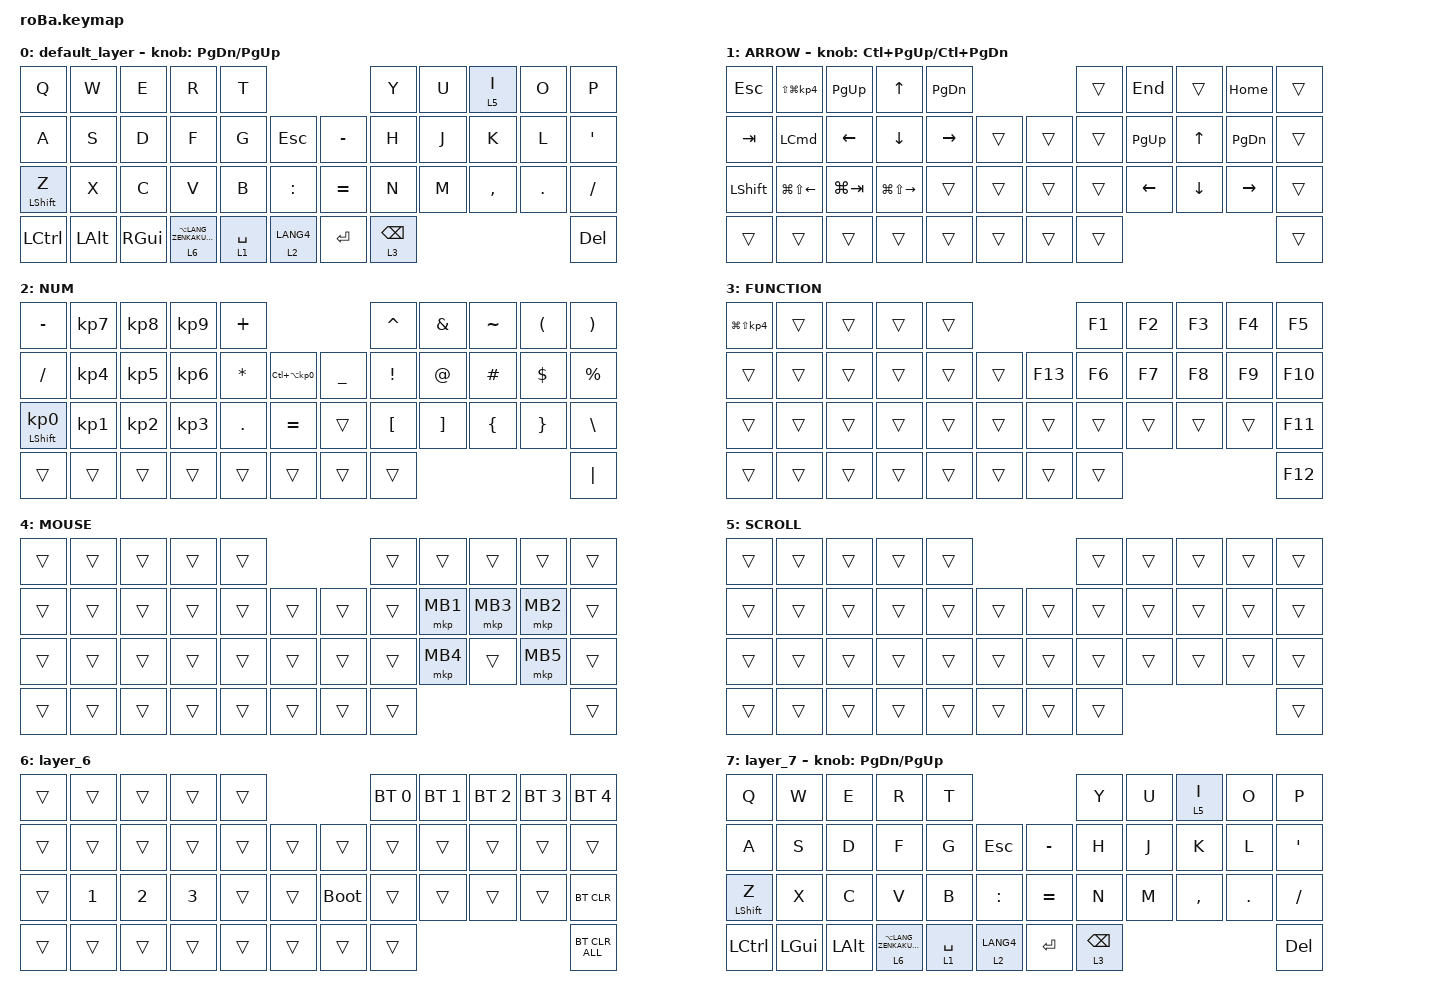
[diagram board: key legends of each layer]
#include <behaviors.dtsi>
#include <dt-bindings/zmk/bt.h>
#include <dt-bindings/zmk/keys.h>
#include <dt-bindings/zmk/pointing.h>

&mt {
    flavor = "balanced";
    quick-tap-ms = <0>;
};

&trackball {
    automouse-layer = <4>;
    scroll-layers = <5>;

    // arrows {
    //     layers = <3>;
    //     bindings =
    //         <&kp RIGHT_ARROW>,
    //         <&kp LEFT_ARROW>,
    //         <&kp UP_ARROW>,
    //         <&kp DOWN_ARROW>;
    //     tick = <10>;
    //     wait-ms = <5>;
    //     tap-ms = <5>;
    // };
};

/ {
    combos {
        compatible = "zmk,combos";

        tab {
            bindings = <&kp TAB>;
            key-positions = <11 10>;
        };

        shift_tab {
            bindings = <&kp LS(TAB)>;
            key-positions = <12 13>;
        };

        muhennkann {
            bindings = <&to_layer_0 INT_MUHENKAN>;
            key-positions = <11 10>;
        };

        double_quotation {
            bindings = <&kp DOUBLE_QUOTES>;
            key-positions = <20 21>;
        };

        eq {
            bindings = <&kp EQUAL>;
            key-positions = <24 25>;
        };

        escape {
            bindings = <&kp ESCAPE>;
            key-positions = <0 1>;
        };

        bikkuri {
            bindings = <&kp EXCLAMATION>;
            key-positions = <0 10>;
        };

        atmark {
            bindings = <&kp AT_SIGN>;
            key-positions = <1 11>;
        };

        ques {
            bindings = <&kp QUESTION>;
            key-positions = <26 27>;
        };

        ei {
            bindings = <&kp LEFT_GUI>;
            key-positions = <26 38>;
        };

        kana {
            bindings = <&kp RIGHT_GUI>;
            key-positions = <29 41>;
        };
    };

    macros {
        to_layer_0: to_layer_0 {
            compatible = "zmk,behavior-macro-one-param";
            #binding-cells = <1>;
            bindings = <&to 0 &macro_param_1to1 &kp MACRO_PLACEHOLDER>;
            label = "TO_LAYER_0";
        };
    };

    behaviors {
        lt_to_layer_0: lt_to_layer_0 {
            compatible = "zmk,behavior-hold-tap";
            label = "LAYER_TAP_TO_0";
            bindings = <&mo>, <&to_layer_0>;

            #binding-cells = <2>;
            tapping-term-ms = <200>;
        };
    };

    keymap {
        compatible = "zmk,keymap";

        default_layer {
            bindings = <
&kp Q             &kp W         &kp E          &kp R                                     &kp T                                               &kp Y            &kp U  &lt 5 I    &kp O    &kp P
&kp A             &kp S         &kp D          &kp F                                     &kp G        &kp ESCAPE                  &kp MINUS  &kp H            &kp J  &kp K      &kp L    &kp SQT
&mt LEFT_SHIFT Z  &kp X         &kp C          &kp V                                     &kp B        &kp COLON                   &kp EQUAL  &kp N            &kp M  &kp COMMA  &kp DOT  &kp SLASH
&kp LCTRL         &kp LEFT_ALT  &kp RIGHT_GUI  &lt_to_layer_0 6 LA(LANG_ZENKAKUHANKAKU)  &lt 1 SPACE  &lt_to_layer_0 2 LANG4      &kp ENTER  &lt 3 BACKSPACE                             &kp DEL
            >;

            sensor-bindings = <&inc_dec_kp PAGE_DOWN PG_UP>;
        };

        ARROW {
            bindings = <
&kp ESCAPE      &kp LS(LG(KP_NUMBER_4))  &kp PG_UP       &kp UP_ARROW             &kp PAGE_DOWN                      &trans  &kp END         &trans        &kp HOME       &trans
&kp TAB         &kp LEFT_COMMAND         &kp LEFT_ARROW  &kp DOWN_ARROW           &kp RIGHT      &trans      &trans  &trans  &kp PG_UP       &kp UP_ARROW  &kp PAGE_DOWN  &trans
&kp LEFT_SHIFT  &kp LG(LS(LEFT_ARROW))   &kp LG(TAB)     &kp LG(LS(RIGHT_ARROW))  &trans         &trans      &trans  &trans  &kp LEFT_ARROW  &kp DOWN      &kp RIGHT      &trans
&trans          &trans                   &trans          &trans                   &trans         &trans      &trans  &trans                                               &trans
            >;

            sensor-bindings = <&inc_dec_kp LC(PAGE_UP) LC(PAGE_DOWN)>;
        };

        NUM {
            bindings = <
&kp MINUS                   &kp KP_NUMBER_7  &kp KP_NUMBER_8  &kp KP_NUMBER_9  &kp PLUS                                                   &kp CARET         &kp AMPERSAND      &kp TILDE       &kp LEFT_PARENTHESIS  &kp RIGHT_PARENTHESIS
&kp SLASH                   &kp KP_NUMBER_4  &kp KP_NUMBER_5  &kp KP_NUMBER_6  &kp ASTERISK  &kp LC(LA(KP_NUMBER_0))      &kp UNDERSCORE  &kp EXCLAMATION   &kp AT_SIGN        &kp HASH        &kp DOLLAR            &kp PERCENT
&mt LEFT_SHIFT KP_NUMBER_0  &kp KP_NUMBER_1  &kp KP_NUMBER_2  &kp KP_NUMBER_3  &kp PERIOD    &kp EQUAL                    &trans          &kp LEFT_BRACKET  &kp RIGHT_BRACKET  &kp LEFT_BRACE  &kp RIGHT_BRACE       &kp BACKSLASH
&trans                      &trans           &trans           &trans           &trans        &trans                       &trans          &trans                                                                     &kp PIPE
            >;
        };

        FUNCTION {
            bindings = <
&kp LG(LS(KP_NUMBER_4))  &trans  &trans  &trans  &trans                       &kp F1  &kp F2  &kp F3  &kp F4  &kp F5
&trans                   &trans  &trans  &trans  &trans  &trans      &kp F13  &kp F6  &kp F7  &kp F8  &kp F9  &kp F10
&trans                   &trans  &trans  &trans  &trans  &trans      &trans   &trans  &trans  &trans  &trans  &kp F11
&trans                   &trans  &trans  &trans  &trans  &trans      &trans   &trans                          &kp F12
            >;
        };

        MOUSE {
            bindings = <
&trans  &trans  &trans  &trans  &trans                      &trans  &trans    &trans    &trans    &trans
&trans  &trans  &trans  &trans  &trans  &trans      &trans  &trans  &mkp MB1  &mkp MB3  &mkp MB2  &trans
&trans  &trans  &trans  &trans  &trans  &trans      &trans  &trans  &mkp MB4  &trans    &mkp MB5  &trans
&trans  &trans  &trans  &trans  &trans  &trans      &trans  &trans                                &trans
            >;
        };

        SCROLL {
            bindings = <
&trans  &trans  &trans  &trans  &trans                      &trans  &trans  &trans  &trans  &trans
&trans  &trans  &trans  &trans  &trans  &trans      &trans  &trans  &trans  &trans  &trans  &trans
&trans  &trans  &trans  &trans  &trans  &trans      &trans  &trans  &trans  &trans  &trans  &trans
&trans  &trans  &trans  &trans  &trans  &trans      &trans  &trans                          &trans
            >;
        };

        layer_6 {
            bindings = <
&trans  &trans        &trans        &trans        &trans                           &bt BT_SEL 0  &bt BT_SEL 1  &bt BT_SEL 2  &bt BT_SEL 3  &bt BT_SEL 4
&trans  &trans        &trans        &trans        &trans  &trans      &trans       &trans        &trans        &trans        &trans        &trans
&trans  &kp NUMBER_1  &kp NUMBER_2  &kp NUMBER_3  &trans  &trans      &bootloader  &trans        &trans        &trans        &trans        &bt BT_CLR
&trans  &trans        &trans        &trans        &trans  &trans      &trans       &trans                                                  &bt BT_CLR_ALL
            >;
        };

        layer_7 {
            bindings = <
&kp Q             &kp W         &kp E         &kp R                                     &kp T                                               &kp Y            &kp U  &lt 5 I    &kp O    &kp P
&kp A             &kp S         &kp D         &kp F                                     &kp G        &kp ESCAPE                  &kp MINUS  &kp H            &kp J  &kp K      &kp L    &kp SQT
&mt LEFT_SHIFT Z  &kp X         &kp C         &kp V                                     &kp B        &kp COLON                   &kp EQUAL  &kp N            &kp M  &kp COMMA  &kp DOT  &kp SLASH
&kp LCTRL         &kp LEFT_GUI  &kp LEFT_ALT  &lt_to_layer_0 6 LA(LANG_ZENKAKUHANKAKU)  &lt 1 SPACE  &lt_to_layer_0 2 LANG4      &kp ENTER  &lt 3 BACKSPACE                             &kp DEL
            >;

            sensor-bindings = <&inc_dec_kp PAGE_DOWN PG_UP>;
        };
    };
};
